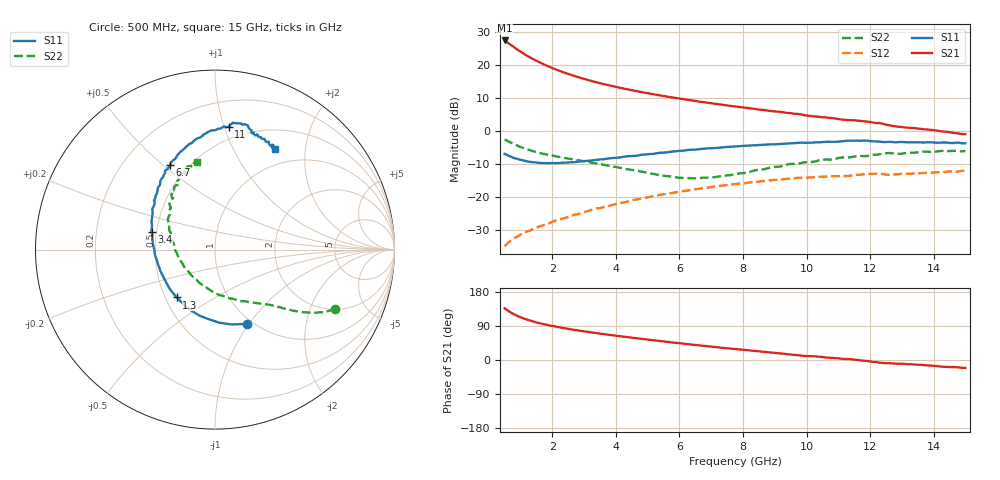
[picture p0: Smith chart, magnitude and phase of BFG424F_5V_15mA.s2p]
! Filename BFG424F_5V_15mA.prm
! Simulation_Values
! Created	by	janssen	on	nov	2006
!	Column ranking S11, S21,S12,S22 both magnitude and phase.
!	VCE	=	5	V,	IC	=	15	mA
!	Common	Emitter	S-Parameters
#	GHZ	S	MA	R	50
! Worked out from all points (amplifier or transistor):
!   146 points, 500 MHz to 15 GHz, reference 50 ohm
!   highest |S21| = 27.5 dB at 500 MHz (marker M1)
!   |S21| within 3 dB of that: start of sweep to 941.2 MHz
!   unconditionally stable (mu >= 1): 1.861 GHz to end of sweep
!   at 2.9 GHz: K = 1.13, MAG = 18.3 dB, |S12| = -24.9 dB
!   at 7.8 GHz: K = 1.15, MAG = 9.4 dB, |S12| = -16.0 dB
!   at 15 GHz: K = 1.39, MAG = 1.9 dB, |S12| = -12.1 dB
!   S11 on the Smith chart (normalised r, x): 500 MHz: 0.94, -0.98; 1.3 GHz: 0.57, -0.35; 3.4 GHz: 0.47, +0.11; 6.7 GHz: 0.40, +0.53; 11 GHz: 0.40, +1.04; 15 GHz: 0.76, +1.47
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0.5  0.45 -66.8  23.59 136.4  0.018 61.1  0.747 -26.4
0.6  0.428 -77.2  21.77 130.4  0.02 59.1  0.705 -29.4
0.7  0.408 -86.7  20.1 125.1  0.022 59.0  0.666 -31.9
0.8  0.389 -95.2  18.55 120.5  0.024 58.4  0.632 -33.7
0.9  0.378 -103.1  17.21 116.5  0.025 58.1  0.601 -35.5
1  0.366 -110.3  15.99 112.8  0.027 58.2  0.574 -36.9
1.1  0.356 -116.9  14.89 109.6  0.028 58.6  0.551 -38.1
1.3  0.341 -128.6  13.07 104.1  0.031 59.4  0.511 -40.2
1.4  0.337 -133.9  12.29 101.6  0.033 60.0  0.494 -41.1
1.6  0.33 -143.0  10.99 97.2  0.036 60.7  0.466 -42.8
1.9  0.326 -155.6  9.429 91.5  0.04 62.4  0.432 -45.4
2.4  0.332 -171.8  7.615 83.6  0.048 64.1  0.39 -50.2
3  0.35 173.0  6.167 75.6  0.059 65.3  0.348 -57.1
3.4  0.367 164.3  5.464 70.8  0.067 65.5  0.323 -62.7
4.2  0.403 149.7  4.446 62.0  0.082 64.9  0.272 -76.8
5.4  0.468 132.9  3.471 49.9  0.108 61.6  0.212 -104.7
6.7  0.535 118.0  2.761 38.0  0.135 56.9  0.195 -147.4
7.8  0.585 107.5  2.345 28.6  0.158 51.9  0.224 179.7
10.2  0.669 89.2  1.67 9.8  0.199 39.5  0.342 136.2
11  0.69 83.7  1.526 4.3  0.207 35.8  0.39 128.6
12.6  0.687 71.8  1.218 -8.7  0.217 28.1  0.465 113.4
15  0.652 59.4  0.898 -20.8  0.248 19.3  0.498 101.7
